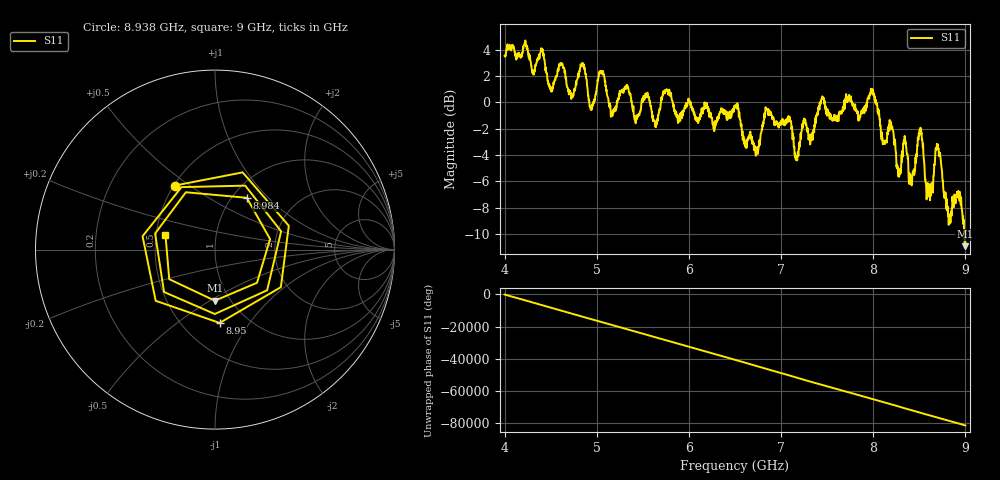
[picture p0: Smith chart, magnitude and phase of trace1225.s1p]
! Created with skrf 1.8.0 (http://scikit-rf.org).
# Hz S RI R 50.0
!freq ReS11 ImS11
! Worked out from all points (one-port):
!   1601 points, 4 GHz to 9 GHz, reference 50 ohm
!   lowest |S11| = -10.9 dB at 8.994 GHz (marker M1), VSWR 1.80, Z = 42.4 - j26.3 ohm
!   |S11| at or under -10 dB: 8.987401 GHz to end of sweep
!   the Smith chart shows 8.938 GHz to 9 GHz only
!   S11 on the Smith chart (normalised r, x): 8.938 GHz: 0.50, +0.44; 8.95 GHz: 0.75, -0.73; 8.984 GHz: 1.16, +0.76; 9 GHz: 0.56, +0.10
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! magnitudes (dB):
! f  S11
! 4 GHz  3.5
! 4.5 GHz  1.1
! 4.625 GHz  3.0
! 4.722 GHz  0.3
! 4.85 GHz  2.9
! 4.938 GHz  -0.5
! 5.044 GHz  2.3
! 5.159 GHz  -0.8
! 5.25 GHz  0.9
! 5.875 GHz  -0.9
! 6.5 GHz  -0.3
! 6.731 GHz  -3.8
! 6.844 GHz  -0.5
! 7.125 GHz  -2.8
! 7.75 GHz  0.3
! 7.994 GHz  0.9
! 8.109 GHz  -3.0
! 8.375 GHz  -4.3
! 8.428 GHz  -5.3
! 8.509 GHz  -2.2
! 8.6 GHz  -6.9
! 8.7 GHz  -3.2
! 8.816 GHz  -8.4
! 8.938 GHz  -7.5
! 8.95 GHz  -7.8
! 8.984 GHz  -9.4
! 8.994 GHz  -10.9
! 9 GHz  -10.8
